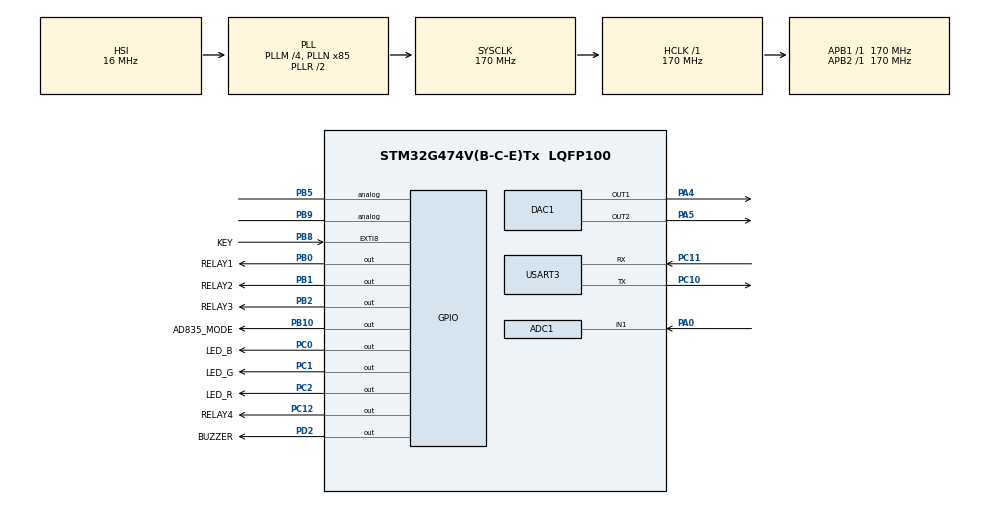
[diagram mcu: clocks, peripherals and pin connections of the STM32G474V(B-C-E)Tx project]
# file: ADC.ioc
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ADC1.Channel-0\#ChannelRegularConversion=ADC_CHANNEL_1
ADC1.DMAContinuousRequests=ENABLE
ADC1.ExternalTrigConv=ADC_EXTERNALTRIG_T3_TRGO
ADC1.NbrOfConversion=1
ADC1.NbrOfConversionFlag=1
ADC1.OffsetNumber-0\#ChannelRegularConversion=ADC_OFFSET_NONE
ADC1.OversamplingMode=ENABLE
ADC1.Rank-0\#ChannelRegularConversion=1
ADC1.RightBitShift=ADC_RIGHTBITSHIFT_1
ADC1.SamplingTime-0\#ChannelRegularConversion=ADC_SAMPLETIME_6CYCLES_5
ADC1.master=1
DAC1.DAC_Channel-DAC_OUT2_ExtAndInt=DAC_CHANNEL_2
Dma.ADC1.0.Direction=DMA_PERIPH_TO_MEMORY
Dma.ADC1.0.EventEnable=DISABLE
Dma.ADC1.0.Instance=DMA1_Channel1
Dma.ADC1.0.MemDataAlignment=DMA_MDATAALIGN_HALFWORD
Dma.ADC1.0.MemInc=DMA_MINC_ENABLE
Dma.ADC1.0.Mode=DMA_CIRCULAR
Dma.ADC1.0.PeriphDataAlignment=DMA_PDATAALIGN_HALFWORD
Dma.ADC1.0.PeriphInc=DMA_PINC_DISABLE
Dma.ADC1.0.Polarity=HAL_DMAMUX_REQ_GEN_RISING
Dma.ADC1.0.Priority=DMA_PRIORITY_LOW
Dma.ADC1.0.RequestNumber=1
Dma.ADC1.0.SignalID=NONE
Dma.ADC1.0.SyncEnable=DISABLE
Dma.ADC1.0.SyncPolarity=HAL_DMAMUX_SYNC_NO_EVENT
Dma.ADC1.0.SyncRequestNumber=1
Dma.ADC1.0.SyncSignalID=NONE
Dma.Request0=ADC1
Mcu.Family=STM32G4
Mcu.Name=STM32G474V(B-C-E)Tx
Mcu.Package=LQFP100
NVIC.ADC1_2_IRQn=true\:0\:0\:false\:false\:true\:true\:true\:true
NVIC.DMA1_Channel1_IRQn=true\:0\:0\:false\:false\:true\:true\:true\:true
NVIC.EXTI9_5_IRQn=true\:0\:0\:false\:false\:true\:true\:true\:true
NVIC.PriorityGroup=NVIC_PRIORITYGROUP_4
NVIC.TIM3_IRQn=true\:0\:0\:false\:false\:true\:true\:true\:true
NVIC.USART3_IRQn=true\:0\:0\:false\:false\:true\:true\:true\:true
PA0.Mode=IN1-Single-Ended
PA0.Signal=ADC1_IN1
PA13.Mode=Serial_Wire
PA13.Signal=SYS_JTMS-SWDIO
PA14.Mode=Serial_Wire
PA14.Signal=SYS_JTCK-SWCLK
PA4.Signal=COMP_DAC11_group
PA5.Signal=COMP_DAC12_group
PB0.GPIO_Label=RELAY1
PB0.GPIO_ModeDefaultOutputPP=GPIO_MODE_OUTPUT_OD
PB0.GPIO_PuPd=GPIO_NOPULL
PB0.GPIO_Speed=GPIO_SPEED_FREQ_HIGH
PB0.PinState=GPIO_PIN_SET
PB0.Signal=GPIO_Output
PB1.GPIO_Label=RELAY2
PB1.GPIO_ModeDefaultOutputPP=GPIO_MODE_OUTPUT_OD
PB1.GPIO_PuPd=GPIO_NOPULL
PB1.GPIO_Speed=GPIO_SPEED_FREQ_HIGH
PB1.PinState=GPIO_PIN_SET
PB1.Signal=GPIO_Output
PB10.GPIO_Label=AD835_MODE
PB10.GPIO_Speed=GPIO_SPEED_FREQ_HIGH
PB10.Signal=GPIO_Output
PB2.GPIO_Label=RELAY3
PB2.GPIO_ModeDefaultOutputPP=GPIO_MODE_OUTPUT_OD
PB2.GPIO_PuPd=GPIO_NOPULL
PB2.GPIO_Speed=GPIO_SPEED_FREQ_HIGH
PB2.PinState=GPIO_PIN_SET
PB2.Signal=GPIO_Output
PB5.Signal=GPIO_Analog
PB8-BOOT0.GPIO_Label=KEY
PB8-BOOT0.GPIO_PuPd=GPIO_PULLDOWN
PB8-BOOT0.Signal=GPXTI8
PB9.Signal=GPIO_Analog
PC0.GPIO_Label=LED_B
PC0.GPIO_Speed=GPIO_SPEED_FREQ_HIGH
PC0.PinState=GPIO_PIN_SET
PC0.Signal=GPIO_Output
PC1.GPIO_Label=LED_G
PC1.GPIO_Speed=GPIO_SPEED_FREQ_HIGH
PC1.PinState=GPIO_PIN_SET
PC1.Signal=GPIO_Output
PC10.Mode=Asynchronous
PC10.Signal=USART3_TX
PC11.Mode=Asynchronous
PC11.Signal=USART3_RX
PC12.GPIO_Label=RELAY4
PC12.GPIO_ModeDefaultOutputPP=GPIO_MODE_OUTPUT_OD
PC12.GPIO_PuPd=GPIO_NOPULL
PC12.GPIO_Speed=GPIO_SPEED_FREQ_HIGH
PC12.PinState=GPIO_PIN_SET
PC12.Signal=GPIO_Output
PC2.GPIO_Label=LED_R
PC2.GPIO_Speed=GPIO_SPEED_FREQ_HIGH
PC2.PinState=GPIO_PIN_SET
PC2.Signal=GPIO_Output
PD2.GPIO_Label=BUZZER
PD2.GPIO_Speed=GPIO_SPEED_FREQ_HIGH
PD2.Signal=GPIO_Output
PF0-OSC_IN.Mode=HSE-External-Oscillator
PF0-OSC_IN.Signal=RCC_OSC_IN
PF1-OSC_OUT.Mode=HSE-External-Oscillator
PF1-OSC_OUT.Signal=RCC_OSC_OUT
ProjectManager.HeapSize=0x200
ProjectManager.StackSize=0x400
ProjectManager.TargetToolchain=MDK-ARM V5.27
RCC.ADC12Freq_Value=170000000
RCC.ADC345Freq_Value=170000000
RCC.AHBFreq_Value=170000000
RCC.APB1Freq_Value=170000000
RCC.APB1TimFreq_Value=170000000
RCC.APB2Freq_Value=170000000
RCC.APB2TimFreq_Value=170000000
RCC.CortexFreq_Value=170000000
RCC.EXTERNAL_CLOCK_VALUE=12288000
RCC.FLatency=FLASH_LATENCY_4
RCC.HCLKFreq_Value=170000000
RCC.HSE_VALUE=8000000
RCC.HSI48_VALUE=48000000
RCC.HSI_VALUE=16000000
RCC.LSE_VALUE=32768
RCC.PLLM=RCC_PLLM_DIV4
RCC.PLLN=85
RCC.PWR_Regulator_Voltage_Scale=PWR_REGULATOR_VOLTAGE_SCALE1_BOOST
RCC.SYSCLKFreq_VALUE=170000000
RCC.SYSCLKSource=RCC_SYSCLKSOURCE_PLLCLK
RCC.USBFreq_Value=170000000
RCC.VCOOutputFreq_Value=340000000
SH.COMP_DAC11_group.0=DAC1_OUT1,DAC_OUT1_ExtAndInt
SH.COMP_DAC12_group.0=DAC1_OUT2,DAC_OUT2_ExtAndInt
TIM3.AutoReloadPreload=TIM_AUTORELOAD_PRELOAD_ENABLE
TIM3.PeriodNoDither=1
TIM3.Prescaler=82
TIM3.TIM_MasterOutputTrigger=TIM_TRGO_UPDATE
USART3.VirtualMode-Asynchronous=VM_ASYNC
VP_SYS_VS_DBSignals.Mode=DisableDeadBatterySignals
VP_TIM3_VS_ClockSourceINT.Mode=Internal
board=custom

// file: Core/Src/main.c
/* USER CODE BEGIN Header */
/**
  ******************************************************************************
  * @file           : main.c
  * @brief          : Main program body
  ******************************************************************************
  * @attention
  *
  * Copyright (c) 2026 STMicroelectronics.
  * All rights reserved.
  *
  * This software is licensed under terms that can be found in the LICENSE file
  * in the root directory of this software component.
  * If no LICENSE file comes with this software, it is provided AS-IS.
  *
  ******************************************************************************
  */
/* USER CODE END Header */
#include "main.h"
#include "adc.h"
#include "dac.h"
#include "dma.h"
#include "tim.h"
#include "usart.h"
#include "gpio.h"

/* USER CODE BEGIN Includes */
#include "AD9833.h"
#include "arm_math.h"
#include "arm_const_structs.h"
#include "analyzer_bridge.h"
#include "display.h"
#include "goertzel_sync.h"
#include "math.h"
#include "stdio.h"
/* USER CODE END Includes */

/* USER CODE BEGIN PD */
#define IN1_O() HAL_GPIO_WritePin(GPIOB,GPIO_PIN_0,GPIO_PIN_RESET)
#define IN1_C() HAL_GPIO_WritePin(GPIOB,GPIO_PIN_0,GPIO_PIN_SET)
#define IN2_O() HAL_GPIO_WritePin(GPIOB,GPIO_PIN_1,GPIO_PIN_RESET)
#define IN2_C() HAL_GPIO_WritePin(GPIOB,GPIO_PIN_1,GPIO_PIN_SET)
#define IN3_O() HAL_GPIO_WritePin(GPIOB,GPIO_PIN_2,GPIO_PIN_RESET)
#define IN3_C() HAL_GPIO_WritePin(GPIOB,GPIO_PIN_2,GPIO_PIN_SET)
#define IN4_O() HAL_GPIO_WritePin(GPIOC,GPIO_PIN_12,GPIO_PIN_RESET)
#define IN4_C() HAL_GPIO_WritePin(GPIOC,GPIO_PIN_12,GPIO_PIN_SET)
#define ADC_SIZE 2048
#define ANALYZER_SAMPLE_RATE_HZ 1024090.0f
#define ADC_VOLTS_PER_CODE      (3.3f / 4096.0f)
/*
 * KEY1实体按键控制总开关：
 * 1U：启用PB8短按切换1T/3T、长按执行原“刷新”按钮命令；
 * 0U：完全关闭本功能，保留原有HMI与显示链路。
 */
#define BOARD_KEY_CONTROL_ENABLE 1U
#define BOARD_KEY_DEBOUNCE_MS    30U
#define BOARD_KEY_LONG_PRESS_MS  1000U
/* float ר�� */
#define SWAP_F(a, b)  do { float _t = (a); (a) = (b); (b) = _t; } while (0)
uint16_t adc_b[ADC_SIZE]={0};
__IO uint8_t AdcConvEnd = 0;
/* USER CODE END PD */

/* USER CODE BEGIN PV */
/*
 * ArmClang 6.7 does not automatically emit this marker for the current
 * main(void).  Without it, the C runtime tries to obtain argc/argv through
 * semihosting before main() and executes BKPT 0xAB on standalone hardware.
 */
#if defined(__ARMCC_VERSION)
__attribute__((used)) int __ARM_use_no_argv;
#endif

float32_t input[ADC_SIZE*2+4],output[ADC_SIZE/2],VO[ADC_SIZE],V0=0;
float32_t max;uint32_t index;
float F,V,FB,VB,VC,FC,TE;
uint32_t valid_len;
uint32_t discard_len;
uint16_t flag=0;

#if BOARD_KEY_CONTROL_ENABLE
/*
 * EXTI回调只写入按下时刻和跟踪标志。
 * UART发送与曲线重绘必须留在主循环，不能放进中断。
 */
static volatile uint32_t s_key_press_tick = 0U;
static volatile uint8_t s_key_press_active = 0U;
#endif
/* USER CODE END PV */

void SystemClock_Config(void);

/* USER CODE BEGIN 0 */

void sof()
{
	if(F>FB)
	{
		SWAP_F(F,FB);
		SWAP_F(V,VB);
	}
	if(FB>FC)
	{
		SWAP_F(FB,FC);
		SWAP_F(VB,VC);
	}
	if(F>FB)
	{
		SWAP_F(F,FB);
		SWAP_F(V,VB);
	}
}

void fft()
{

	arm_cfft_f32(&arm_cfft_sR_f32_len2048,input,0,1);
	 arm_cmplx_mag_f32(input, output, ADC_SIZE / 2 );
	//arm_cmplx_mag_squared_f32(input,output,ADC_SIZE/2);
	index=0;
	max=output[1];
	arm_max_f32(&output[1],ADC_SIZE/2-1,&max,&index);
	float sum=0;

	for(int i=-8;i<9;i++)
		{
			sum+=output[index+i+1]*output[index+i+1];output[index+i+1]=0;
		}
	F=(index+1)*1024000.0/2048.0;
	//V=2.0*max/2048.0;
	V=2.0*sqrtf(sum)/2048.0;

	arm_max_f32(&output[1],ADC_SIZE/2-1,&max,&index);
	sum=0;
	for(int i=-8;i<9;i++)
		{
			sum+=output[index+i+1]*output[index+i+1];output[index+i+1]=0;
		}
	FB=(index+1)*1024000.0/2048.0;
	//VB=2.0*max/2048.0;
	VB=2.0*sqrtf(sum)/2048.0;

	arm_max_f32(&output[1],ADC_SIZE/2-1,&max,&index);
	sum=0;
	for(int i=-8;i<9;i++)
		{
			sum+=output[index+i+1]*output[index+i+1];output[index+i+1]=0;
		}
	FC=(index+1)*1024000.0/2048.0;
	//VC=2.0*max/2048.0;
	VC=2.0*sqrtf(sum)/2048.0;

	if(VC<0.004)
		flag=2;
	else
	{
		sof();
		//if((uint32_t)FB % (uint32_t)F!=0 || (uint32_t)FC % (uint32_t)F!=0)
			flag=3;

	}

	V0=output[0]/2048.0;
}

void HAL_ADC_ConvCpltCallback(ADC_HandleTypeDef* hadc)
{
	if(hadc == &hadc1)
	{
		AdcConvEnd=1;
HAL_ADC_Stop_DMA(&hadc1);
	}
}

#if BOARD_KEY_CONTROL_ENABLE
/**
 * @brief KEY1上升沿中断回调。
 *
 * PB8松开时为低电平、按下时为高电平。中断中只记录按下时刻，
 * 不等待松开，也不调用显示或UART函数。
 */
void HAL_GPIO_EXTI_Callback(uint16_t GPIO_Pin)
{
    if ((GPIO_Pin == KEY_Pin) &&
        (s_key_press_active == 0U) &&
        (HAL_GPIO_ReadPin(KEY_GPIO_Port, KEY_Pin) == GPIO_PIN_SET))
    {
        s_key_press_tick = HAL_GetTick();
        s_key_press_active = 1U;
    }
}

/**
 * @brief 在主循环中检测KEY1松开并执行短按/长按动作。
 *
 * 按住不足30 ms视为抖动；30~999 ms执行原1T/3T按钮命令；
 * 按住至少1000 ms后松开，执行原“刷新”按钮命令，恢复真实ADC结果。
 */
static void BoardKey_Task(void)
{
    uint32_t press_tick;
    uint32_t held_ms;

    if ((s_key_press_active == 0U) ||
        (HAL_GPIO_ReadPin(KEY_GPIO_Port, KEY_Pin) == GPIO_PIN_SET))
    {
        return;
    }

    /*
     * PB8已经回到低电平，说明本次按压结束。
     * 先清除活动标志，再根据持续时间安排主循环显示动作。
     */
    press_tick = s_key_press_tick;
    s_key_press_active = 0U;
    held_ms = HAL_GetTick() - press_tick;

    if (held_ms < BOARD_KEY_DEBOUNCE_MS)
    {
        return;
    }

    if (held_ms >= BOARD_KEY_LONG_PRESS_MS)
    {
        Display_RequestRefresh();
    }
    else
    {
        Display_TogglePeriods();
    }
}
#endif

/* ³�����ֵ: �ðٷ�λ�������� */
float Vpp_Robust(const float *data, uint32_t len)
{
    static float sorted[2048];
    uint32_t i, j;
    float key;

    /* 1. ���� */
    for (i = 0; i < len; i++) sorted[i] = data[i];

    /* 2. ��������(2048���Cortex-M4����)
       Ҳ���� arm_sort_f32 (CMSIS-DSP 1.10+) */
    for (i = 1; i < len; i++) {
        key = sorted[i];
        j = i;
        while (j > 0 && sorted[j-1] > key) {
            sorted[j] = sorted[j-1];
            j--;
        }
        sorted[j] = key;
    }

    /* 3. ȡ 1% �� 99% ��λ��, ���˼������� */
		float idx_low=0 ;           /* 1% λ�� */
    float idx_high=0; /* 99% λ�� */
		for (i = 1; i < 11; i++) {
			idx_low+=sorted[i];
			idx_high+=sorted[2047-i];
		}
		idx_low/=10.0;
		idx_high/=10.0;
    return idx_high- idx_low;
}

float Vpp_R()
{
			float fm=F;
			uint32_t cycles = (uint32_t)floor(2048.0 * fm / 1024000.0);
			double exact_len = cycles *  1024000.0 / fm;
			valid_len = (uint32_t)round(exact_len);
			discard_len = 2048 - valid_len;
			for(int i=0;i<discard_len;i++)
				VO[2047-i]=0;
			for (int i=0; i < 2048; i++)
			{
				input[i*2]=VO[i];input[i*2+1]=0;
			}
			fft();
			for(int i=0;i<2048;i++)
				VO[i]-=V0;
			float Vrms=0;
			arm_rms_f32(VO, valid_len, &Vrms);
			return Vrms;
}
/* USER CODE END 0 */

int main(void)
{

  /* MCU Configuration--------------------------------------------------------*/

  /* Reset of all peripherals, Initializes the Flash interface and the Systick. */
  HAL_Init();

  /* Configure the system clock */
  SystemClock_Config();

  /* Initialize all configured peripherals */
  MX_GPIO_Init();
  MX_DMA_Init();
  MX_DAC1_Init();
  MX_USART3_UART_Init();
  MX_TIM3_Init();
  MX_ADC1_Init();
  /* USER CODE BEGIN 2 */
HAL_ADCEx_Calibration_Start(&hadc1, ADC_SINGLE_ENDED);
HAL_TIM_Base_Start(&htim3);
HAL_ADC_Start_DMA(&hadc1,(uint32_t*)adc_b,2048);
AnalyzerBridge_Init();
Display_Init(&huart3);
  /* USER CODE END 2 */

  /* Infinite loop */
  while (1)
  {

    /* USER CODE BEGIN 3 */
		if(AdcConvEnd == 1)
		{
			float spectrum_frequencies_hz[ANALYZER_MAX_COMPONENTS];
			float spectrum_amplitudes_v[ANALYZER_MAX_COMPONENTS];
			uint8_t spectrum_flag;
			GoertzelResult goertzel_a;
			GoertzelResult goertzel_b;
			GoertzelResult goertzel_c;

			for (int i=0; i < 2048; i++)
			{
				input[i*2]=adc_b[i]*3.3/4096;VO[i]=input[i*2];input[i*2+1]=0;
			}
			fft();

			/*
			 * Vpp_R()内部会再次执行fft()并覆盖F/V等全局结果。
			 * 因此在保持队友算法不变的前提下，先保存第一次FFT的最终谱峰。
			 */
			spectrum_frequencies_hz[0] = F;
			spectrum_frequencies_hz[1] = FB;
			spectrum_frequencies_hz[2] = FC;
			spectrum_amplitudes_v[0] = V;
			spectrum_amplitudes_v[1] = VB;
			spectrum_amplitudes_v[2] = VC;
			spectrum_flag = (uint8_t)flag;

			//float vmax,vmin;
			//uint32_t maxid,minid;
			//arm_max_f32(VO, 2048, &vmax, &maxid);   /* �����ֵ */
			//arm_min_f32(VO, 2048, &vmin, &minid);   /* ����Сֵ */

			float vpp =Vpp_Robust(VO,2048)  ;            /* ���ֵ */

			/*
			 * 保留队友新版的Goertzel精测链路。当前显示仍使用队友FFT的
			 * 三组幅值，避免在未完成实机标定前改变对外结果口径。
			 */
			goertzel_a =
				goertzel_sync(
					VO,
					ADC_SIZE,
					ANALYZER_SAMPLE_RATE_HZ,
					spectrum_frequencies_hz[0]
				);
			goertzel_b =
				goertzel_sync(
					VO,
					ADC_SIZE,
					ANALYZER_SAMPLE_RATE_HZ,
					spectrum_frequencies_hz[1]
				);
			goertzel_c =
				goertzel_sync(
					VO,
					ADC_SIZE,
					ANALYZER_SAMPLE_RATE_HZ,
					spectrum_frequencies_hz[2]
				);
			(void)goertzel_a;
			(void)goertzel_b;
			(void)goertzel_c;

			float Vrms=Vpp_R();

			/*
			 * 在一次真实分析全部完成后发布稳定快照。
			 * 单位换算、谱峰排序和一个周期显示波形提取均由桥接层完成。
			 */
			AnalyzerBridge_PublishReal(
				adc_b,
				ADC_SIZE,
				ADC_VOLTS_PER_CODE,
				ANALYZER_SAMPLE_RATE_HZ,
				vpp,
				Vrms,
				spectrum_flag,
				spectrum_frequencies_hz,
				spectrum_amplitudes_v
			);

			AdcConvEnd=0;
			HAL_ADC_Start_DMA(&hadc1,(uint32_t*)adc_b,2048);
			//AdcConvEnd=0;
		}

#if BOARD_KEY_CONTROL_ENABLE
		BoardKey_Task();
#endif
		Display_Task();

  }
  /* USER CODE END 3 */
}

void SystemClock_Config(void)
{
  RCC_OscInitTypeDef RCC_OscInitStruct = {0};
  RCC_ClkInitTypeDef RCC_ClkInitStruct = {0};

  /** Configure the main internal regulator output voltage
  */
  HAL_PWREx_ControlVoltageScaling(PWR_REGULATOR_VOLTAGE_SCALE1_BOOST);

  /** Initializes the RCC Oscillators according to the specified parameters
  * in the RCC_OscInitTypeDef structure.
  */
  RCC_OscInitStruct.OscillatorType = RCC_OSCILLATORTYPE_HSI;
  RCC_OscInitStruct.HSIState = RCC_HSI_ON;
  RCC_OscInitStruct.HSICalibrationValue = RCC_HSICALIBRATION_DEFAULT;
  RCC_OscInitStruct.PLL.PLLState = RCC_PLL_ON;
  RCC_OscInitStruct.PLL.PLLSource = RCC_PLLSOURCE_HSI;
  RCC_OscInitStruct.PLL.PLLM = RCC_PLLM_DIV4;
  RCC_OscInitStruct.PLL.PLLN = 85;
  RCC_OscInitStruct.PLL.PLLP = RCC_PLLP_DIV2;
  RCC_OscInitStruct.PLL.PLLQ = RCC_PLLQ_DIV2;
  RCC_OscInitStruct.PLL.PLLR = RCC_PLLR_DIV2;
  if (HAL_RCC_OscConfig(&RCC_OscInitStruct) != HAL_OK)
  {
    Error_Handler();
  }

  /** Initializes the CPU, AHB and APB buses clocks
  */
  RCC_ClkInitStruct.ClockType = RCC_CLOCKTYPE_HCLK|RCC_CLOCKTYPE_SYSCLK
                              |RCC_CLOCKTYPE_PCLK1|RCC_CLOCKTYPE_PCLK2;
  RCC_ClkInitStruct.SYSCLKSource = RCC_SYSCLKSOURCE_PLLCLK;
  RCC_ClkInitStruct.AHBCLKDivider = RCC_SYSCLK_DIV1;
  RCC_ClkInitStruct.APB1CLKDivider = RCC_HCLK_DIV1;
  RCC_ClkInitStruct.APB2CLKDivider = RCC_HCLK_DIV1;

  if (HAL_RCC_ClockConfig(&RCC_ClkInitStruct, FLASH_LATENCY_4) != HAL_OK)
  {
    Error_Handler();
  }
}

void Error_Handler(void)
{
  __disable_irq();
  while (1)
  {
  }
}
